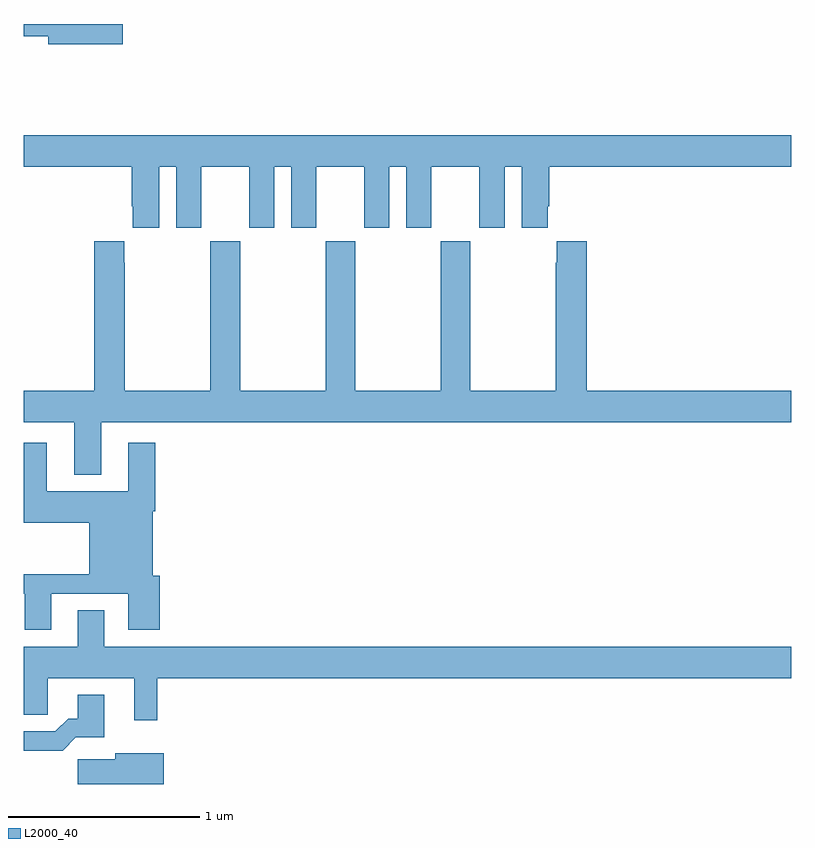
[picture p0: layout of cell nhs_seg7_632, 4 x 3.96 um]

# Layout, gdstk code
import gdstk
lib = gdstk.Library(unit=1e-6, precision=1e-09)
def P(c, l, *ps):  # polygons
    for p in ps: c.add(gdstk.Polygon(p, *l))
L2000_40 = (2000, 40)

nhs_seg7_632 = lib.new_cell('nhs_seg7_632')
P(nhs_seg7_632, L2000_40, [(159.517,1028),(159,1028),(159,1027.936),(159.128,1027.936),(159.128,1027.894),(159.517,1027.894)],
  [(159.706,1027.256),(159.794,1027.256),(159.794,1026.939),(159.925,1026.939),(159.925,1027.256),(160.175,1027.256),(160.175,1026.939),(160.306,1026.939),(160.306,1027.256),(160.394,1027.256),(160.394,1026.939),(160.525,1026.939),(160.525,1027.256),(160.775,1027.256),(160.775,1026.939),(160.906,1026.939),(160.906,1027.256),(160.994,1027.256),(160.994,1026.939),(161.125,1026.939),(161.125,1027.256),(161.375,1027.256),(161.375,1026.939),(161.506,1026.939),(161.506,1027.256),(161.594,1027.256),(161.594,1026.939),(161.731,1026.939),(161.731,1027.051),(161.738,1027.051),(161.738,1027.256),(163,1027.256),(163,1027.42),(159,1027.42),(159,1027.256),(159.563,1027.256),(159.563,1027.051),(159.569,1027.051),(159.569,1026.939),(159.706,1026.939)],
  [(159.403,1025.924),(163,1025.924),(163,1026.088),(161.933,1026.088),(161.933,1026.868),(161.777,1026.868),(161.777,1026.755),(161.773,1026.755),(161.773,1026.088),(161.328,1026.088),(161.328,1026.868),(161.173,1026.868),(161.173,1026.088),(160.728,1026.088),(160.728,1026.868),(160.573,1026.868),(160.573,1026.088),(160.128,1026.088),(160.128,1026.868),(159.973,1026.868),(159.973,1026.088),(159.528,1026.088),(159.528,1026.755),(159.523,1026.755),(159.523,1026.868),(159.368,1026.868),(159.368,1026.088),(159,1026.088),(159,1025.924),(159.263,1025.924),(159.263,1025.651),(159.403,1025.651)],
  [(159.145,1025.031),(159.545,1025.031),(159.545,1024.845),(159.71,1024.845),(159.71,1025.124),(159.673,1025.124),(159.673,1025.462),(159.686,1025.462),(159.686,1025.818),(159.545,1025.818),(159.545,1025.566),(159.121,1025.566),(159.121,1025.818),(159,1025.818),(159,1025.402),(159.341,1025.402),(159.341,1025.132),(159,1025.132),(159,1025.031),(159.005,1025.031),(159.005,1024.845),(159.145,1024.845)],
  [(159.697,1024.592),(163,1024.592),(163,1024.756),(159.421,1024.756),(159.421,1024.946),(159.281,1024.946),(159.281,1024.756),(159,1024.756),(159,1024.402),(159.126,1024.402),(159.126,1024.592),(159.575,1024.592),(159.575,1024.371),(159.697,1024.371)],
  [(159.272,1024.283),(159.421,1024.283),(159.421,1024.504),(159.281,1024.504),(159.281,1024.381),(159.232,1024.381),(159.165,1024.314),(159,1024.314),(159,1024.214),(159.203,1024.214)],
  [(159.73,1024.201),(159.476,1024.201),(159.476,1024.169),(159.282,1024.169),(159.282,1024.04),(159.73,1024.04)])

lib.write_gds('nhs_seg7_632.gds')
